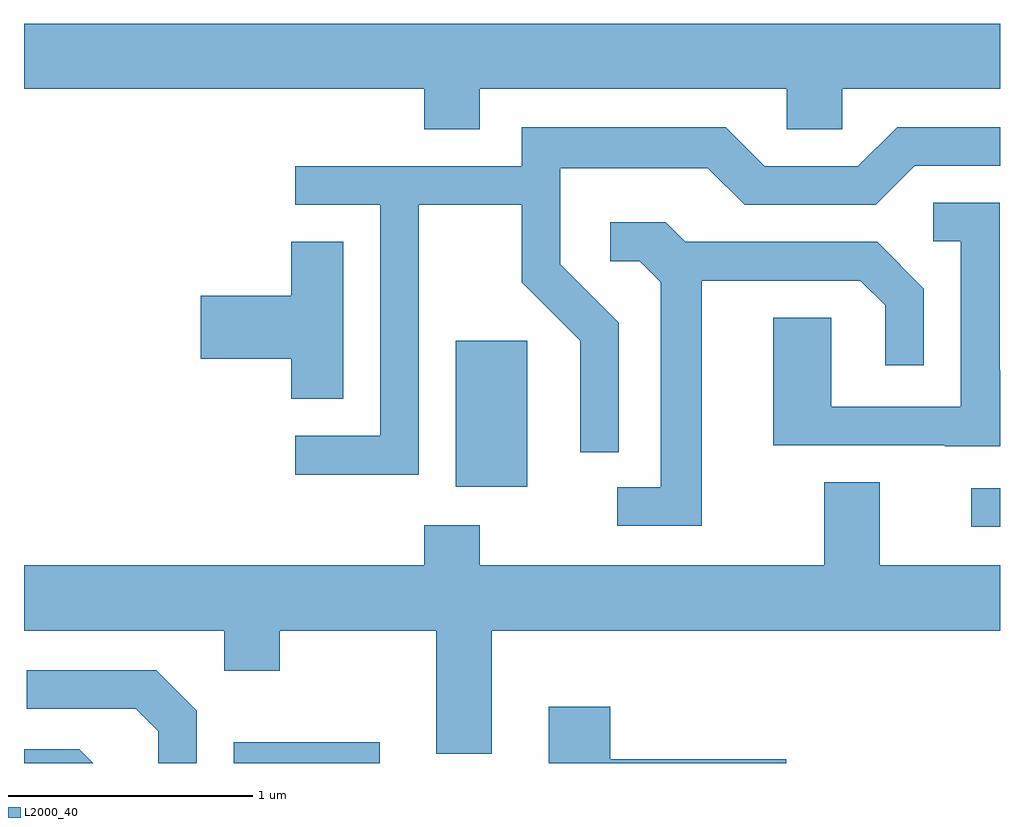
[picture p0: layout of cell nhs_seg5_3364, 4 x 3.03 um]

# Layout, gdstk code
import gdstk
lib = gdstk.Library(unit=1e-6, precision=1e-09)
def R(c, l, rs):  # rectangles x0, y0, x1, y1
    for r in rs: c.add(gdstk.rectangle(r[:2], r[2:], *l))
def P(c, l, *ps):  # polygons
    for p in ps: c.add(gdstk.Polygon(p, *l))
L2000_40 = (2000, 40)

nhs_seg5_3364 = lib.new_cell('nhs_seg5_3364')
R(nhs_seg5_3364, L2000_40, [(286.471,1414.072,287.069,1414.159), (289.493,1415.041,289.611,1415.199), (287.381,1415.206,287.674,1415.804)])
P(nhs_seg5_3364, L2000_40, [(287.479,1416.836),(288.736,1416.836),(288.736,1416.671),(288.964,1416.671),(288.964,1416.836),(289.611,1416.836),(289.611,1417.104),(285.611,1417.104),(285.611,1416.836),(287.251,1416.836),(287.251,1416.671),(287.479,1416.671)],
  [(287.229,1416.361),(287.651,1416.361),(287.651,1416.044),(287.891,1415.804),(287.891,1415.348),(288.049,1415.348),(288.049,1415.877),(287.809,1416.117),(287.809,1416.511),(288.414,1416.511),(288.564,1416.361),(289.102,1416.361),(289.262,1416.521),(289.611,1416.521),(289.611,1416.679),(289.189,1416.679),(289.029,1416.519),(288.647,1416.519),(288.487,1416.679),(287.651,1416.679),(287.651,1416.519),(286.723,1416.519),(286.723,1416.361),(287.071,1416.361),(287.071,1415.414),(286.723,1415.414),(286.723,1415.256),(287.229,1415.256)],
  [(289.611,1415.684),(289.609,1415.684),(289.609,1416.369),(289.338,1416.369),(289.338,1416.211),(289.451,1416.211),(289.451,1415.534),(288.919,1415.534),(288.919,1415.899),(288.681,1415.899),(288.681,1415.376),(289.385,1415.376),(289.385,1415.371),(289.611,1415.371)],
  [(288.389,1416.051),(289.039,1416.051),(289.141,1415.949),(289.141,1415.703),(289.299,1415.703),(289.299,1416.017),(289.107,1416.209),(288.322,1416.209),(288.242,1416.289),(288.013,1416.289),(288.013,1416.131),(288.134,1416.131),(288.221,1416.044),(288.221,1415.204),(288.043,1415.204),(288.043,1415.046),(288.389,1415.046)],
  [(286.919,1416.209),(286.706,1416.209),(286.706,1415.989),(286.336,1415.989),(286.336,1415.731),(286.706,1415.731),(286.706,1415.566),(286.919,1415.566)],
  [(287.529,1414.616),(289.611,1414.616),(289.611,1414.884),(289.119,1414.884),(289.119,1415.224),(288.891,1415.224),(288.891,1414.884),(287.479,1414.884),(287.479,1415.049),(287.251,1415.049),(287.251,1414.884),(285.611,1414.884),(285.611,1414.616),(286.431,1414.616),(286.431,1414.451),(286.659,1414.451),(286.659,1414.616),(287.301,1414.616),(287.301,1414.111),(287.529,1414.111)],
  [(286.319,1414.287),(286.152,1414.454),(285.623,1414.454),(285.623,1414.296),(286.069,1414.296),(286.161,1414.204),(286.161,1414.072),(286.319,1414.072)],
  [(288.734,1414.089),(288.014,1414.089),(288.014,1414.304),(287.761,1414.304),(287.761,1414.072),(288.734,1414.072)],
  [(285.837,1414.129),(285.611,1414.129),(285.611,1414.072),(285.894,1414.072)])

lib.write_gds('nhs_seg5_3364.gds')
